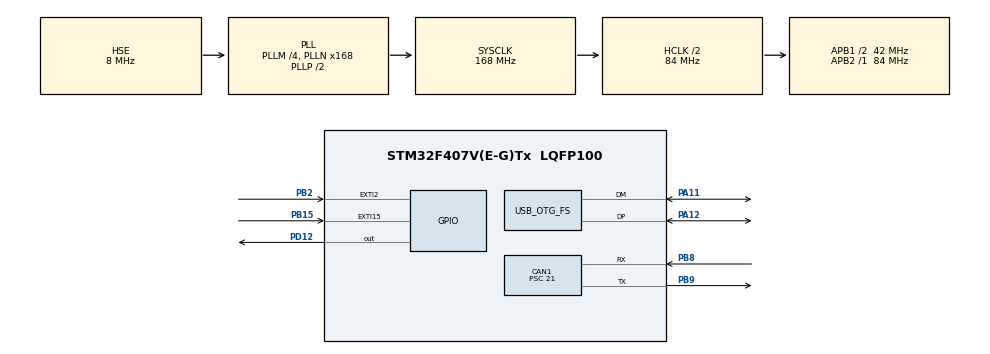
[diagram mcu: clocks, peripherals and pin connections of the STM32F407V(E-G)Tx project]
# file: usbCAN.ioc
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CAN1.BS1=CAN_BS1_13TQ
CAN1.BS2=CAN_BS2_2TQ
CAN1.CalculateBaudRate=125000
CAN1.CalculateTimeBit=8000.00
CAN1.CalculateTimeQuantum=500.0
CAN1.Mode=CAN_MODE_LOOPBACK
CAN1.Prescaler=21
Mcu.Family=STM32F4
Mcu.Name=STM32F407V(E-G)Tx
Mcu.Package=LQFP100
NVIC.CAN1_RX0_IRQn=true\:0\:0\:false\:false\:true\:true\:true
NVIC.CAN1_TX_IRQn=true\:0\:0\:false\:false\:true\:true\:true
NVIC.EXTI15_10_IRQn=true\:0\:0\:false\:false\:true\:true\:true
NVIC.EXTI2_IRQn=true\:0\:0\:false\:false\:true\:true\:true
NVIC.OTG_FS_IRQn=true\:0\:0\:false\:false\:true\:false\:true
NVIC.PriorityGroup=NVIC_PRIORITYGROUP_4
PA11.Mode=Device_Only
PA11.Signal=USB_OTG_FS_DM
PA12.Mode=Device_Only
PA12.Signal=USB_OTG_FS_DP
PA13.Mode=Serial_Wire
PA13.Signal=SYS_JTMS-SWDIO
PA14.Mode=Serial_Wire
PA14.Signal=SYS_JTCK-SWCLK
PB15.GPIO_ModeDefaultEXTI=GPIO_MODE_IT_FALLING
PB15.Signal=GPXTI15
PB2.GPIO_ModeDefaultEXTI=GPIO_MODE_IT_FALLING
PB2.Signal=GPXTI2
PB8.Mode=CAN_Activate
PB8.Signal=CAN1_RX
PB9.Mode=CAN_Activate
PB9.Signal=CAN1_TX
PD12.Signal=GPIO_Output
PH0-OSC_IN.Mode=HSE-External-Oscillator
PH0-OSC_IN.Signal=RCC_OSC_IN
PH1-OSC_OUT.Mode=HSE-External-Oscillator
PH1-OSC_OUT.Signal=RCC_OSC_OUT
ProjectManager.HeapSize=0x200
ProjectManager.StackSize=0x400
ProjectManager.TargetToolchain=MDK-ARM V5.27
RCC.48MHZClocksFreq_Value=48000000
RCC.AHBCLKDivider=RCC_SYSCLK_DIV2
RCC.AHBFreq_Value=84000000
RCC.APB1CLKDivider=RCC_HCLK_DIV2
RCC.APB1Freq_Value=42000000
RCC.APB1TimFreq_Value=84000000
RCC.APB2Freq_Value=84000000
RCC.APB2TimFreq_Value=84000000
RCC.CortexFreq_Value=84000000
RCC.HCLKFreq_Value=84000000
RCC.HSE_VALUE=8000000
RCC.HSI_VALUE=16000000
RCC.LSE_VALUE=32768
RCC.PLLM=4
RCC.PLLN=168
RCC.PLLQ=7
RCC.SYSCLKFreq_VALUE=168000000
RCC.SYSCLKSource=RCC_SYSCLKSOURCE_PLLCLK
RCC.VCOOutputFreq_Value=336000000
USB_DEVICE.CLASS_NAME_FS=CDC
USB_DEVICE.VirtualMode-CDC_FS=Cdc
USB_DEVICE.VirtualModeFS=Cdc_FS
USB_OTG_FS.VirtualMode=Device_Only
VP_USB_DEVICE_VS_USB_DEVICE_CDC_FS.Mode=CDC_FS
board=custom

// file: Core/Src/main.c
/* USER CODE BEGIN Header */
/**
  ******************************************************************************
  * @file           : main.c
  * @brief          : Main program body
  ******************************************************************************
  * @attention
  *
  * <h2><center>&copy; Copyright (c) 2021 STMicroelectronics.
  * All rights reserved.</center></h2>
  *
  * This software component is licensed by ST under Ultimate Liberty license
  * SLA0044, the "License"; You may not use this file except in compliance with
  * the License. You may obtain a copy of the License at:
  *                             www.st.com/SLA0044
  *
  ******************************************************************************
  */
/* USER CODE END Header */
#include "main.h"
#include "usb_device.h"

/* USER CODE BEGIN Includes */
#include "usbd_cdc_if.h"
/* USER CODE END Includes */

CAN_HandleTypeDef hcan1;

void SystemClock_Config(void);
static void MX_GPIO_Init(void);
static void MX_CAN1_Init(void);

/* USER CODE BEGIN 0 */
int usbRxDataSize = 0;

int sw1Pressed = 0;

CAN_FilterTypeDef filterConf;
CAN_RxHeaderTypeDef RxHeader;
uint8_t RxData[8];
int canRxDataSize = 0;

CAN_TxHeaderTypeDef TxHeader;
uint8_t TxData[8];
uint32_t TxMailbox;

void HAL_CAN_TxMailbox0CompleteCallback(CAN_HandleTypeDef* hcan) {
}

void HAL_CAN_RxFifo0MsgPendingCallback(CAN_HandleTypeDef* hcan) {
	HAL_CAN_GetRxMessage(&hcan1, CAN_RX_FIFO0, &RxHeader, RxData);
	canRxDataSize = RxHeader.DLC;
}

/* USER CODE END 0 */

int main(void)
{

  /* MCU Configuration--------------------------------------------------------*/

  /* Reset of all peripherals, Initializes the Flash interface and the Systick. */
  HAL_Init();

  /* Configure the system clock */
  SystemClock_Config();

  /* Initialize all configured peripherals */
  MX_GPIO_Init();
  MX_CAN1_Init();
  MX_USB_DEVICE_Init();
  /* USER CODE BEGIN 2 */
	char txt[] = "Hello, Wolrd\n";
	CDC_Transmit_FS(txt, strlen(txt));

	filterConf.FilterBank = 0;
	filterConf.FilterMode =CAN_FILTERMODE_IDLIST;
	filterConf.FilterScale = CAN_FILTERSCALE_16BIT;
	filterConf.FilterFIFOAssignment = CAN_RX_FIFO0;
	filterConf.FilterIdHigh = (0x0100 << 5);
	filterConf.FilterIdLow = (0x0102 << 5);
	uint32_t maskId = 0x7FFFFFFC;
	filterConf.FilterMaskIdHigh = (0x0104 << 5);
	filterConf.FilterMaskIdLow =  (0x0106 << 5);
	filterConf.FilterActivation = CAN_FILTER_ENABLE;
	filterConf.SlaveStartFilterBank = 0;
	if (HAL_CAN_ConfigFilter(&hcan1, &filterConf) != HAL_OK) {
		Error_Handler();
	}
	if (HAL_CAN_Start(&hcan1) != HAL_OK){
		Error_Handler();
	}
	if (HAL_CAN_ActivateNotification(&hcan1, CAN_IT_RX_FIFO0_MSG_PENDING | CAN_IT_TX_MAILBOX_EMPTY ) != HAL_OK) {
		Error_Handler();
	}

  /* USER CODE END 2 */

  /* Infinite loop */
  while (1)
  {

    /* USER CODE BEGIN 3 */
		if (usbRxDataSize > 0) {
			char buf[100];
			extern uint8_t UserRxBufferFS[];
			sprintf(buf, "Got %s\n", UserRxBufferFS);
			CDC_Transmit_FS(buf, strlen(buf));
			usbRxDataSize = 0;
		}

		if (sw1Pressed) {
			static uint8_t count = 0;
			TxHeader.StdId = 0x0100 + count;
			TxHeader.ExtId =0x00000000;
			TxHeader.IDE = CAN_ID_STD;
			TxHeader.RTR = CAN_RTR_DATA;
			TxHeader.DLC = 8;
			TxHeader.TransmitGlobalTime = DISABLE;
			TxData[0] = 0;
			TxData[1] = 1;
			TxData[2] = 2;
			TxData[3] = 3;
			TxData[4] = 4;
			TxData[5] = 5;
			TxData[6] = 6;
			TxData[7] = count++;
			HAL_CAN_AddTxMessage(&hcan1, &TxHeader, TxData, &TxMailbox);
			sw1Pressed = 0;
		}

		if (canRxDataSize > 0) {
			char buf[100];
			switch (canRxDataSize) {
				case 8:
					sprintf(buf,"%d: %x %x %x %x %x %x %x %x \n",canRxDataSize,RxData[0], RxData[1], RxData[2], RxData[3], RxData[4], RxData[5],RxData[6],RxData[7]);
				break;
				default:
					sprintf(buf, "Got %d bytes\n", canRxDataSize);
			}
			CDC_Transmit_FS(buf,strlen(buf));
			canRxDataSize = 0;
		}

		HAL_Delay(300);

  }
  /* USER CODE END 3 */
}

void SystemClock_Config(void)
{
  RCC_OscInitTypeDef RCC_OscInitStruct = {0};
  RCC_ClkInitTypeDef RCC_ClkInitStruct = {0};

  /** Configure the main internal regulator output voltage
  */
  __HAL_RCC_PWR_CLK_ENABLE();
  __HAL_PWR_VOLTAGESCALING_CONFIG(PWR_REGULATOR_VOLTAGE_SCALE1);
  /** Initializes the RCC Oscillators according to the specified parameters
  * in the RCC_OscInitTypeDef structure.
  */
  RCC_OscInitStruct.OscillatorType = RCC_OSCILLATORTYPE_HSE;
  RCC_OscInitStruct.HSEState = RCC_HSE_ON;
  RCC_OscInitStruct.PLL.PLLState = RCC_PLL_ON;
  RCC_OscInitStruct.PLL.PLLSource = RCC_PLLSOURCE_HSE;
  RCC_OscInitStruct.PLL.PLLM = 4;
  RCC_OscInitStruct.PLL.PLLN = 168;
  RCC_OscInitStruct.PLL.PLLP = RCC_PLLP_DIV2;
  RCC_OscInitStruct.PLL.PLLQ = 7;
  if (HAL_RCC_OscConfig(&RCC_OscInitStruct) != HAL_OK)
  {
    Error_Handler();
  }
  /** Initializes the CPU, AHB and APB buses clocks
  */
  RCC_ClkInitStruct.ClockType = RCC_CLOCKTYPE_HCLK|RCC_CLOCKTYPE_SYSCLK
                              |RCC_CLOCKTYPE_PCLK1|RCC_CLOCKTYPE_PCLK2;
  RCC_ClkInitStruct.SYSCLKSource = RCC_SYSCLKSOURCE_PLLCLK;
  RCC_ClkInitStruct.AHBCLKDivider = RCC_SYSCLK_DIV2;
  RCC_ClkInitStruct.APB1CLKDivider = RCC_HCLK_DIV2;
  RCC_ClkInitStruct.APB2CLKDivider = RCC_HCLK_DIV1;

  if (HAL_RCC_ClockConfig(&RCC_ClkInitStruct, FLASH_LATENCY_2) != HAL_OK)
  {
    Error_Handler();
  }
}

static void MX_CAN1_Init(void)
{

  hcan1.Instance = CAN1;
  hcan1.Init.Prescaler = 21;
  hcan1.Init.Mode = CAN_MODE_LOOPBACK;
  hcan1.Init.SyncJumpWidth = CAN_SJW_1TQ;
  hcan1.Init.TimeSeg1 = CAN_BS1_13TQ;
  hcan1.Init.TimeSeg2 = CAN_BS2_2TQ;
  hcan1.Init.TimeTriggeredMode = DISABLE;
  hcan1.Init.AutoBusOff = DISABLE;
  hcan1.Init.AutoWakeUp = DISABLE;
  hcan1.Init.AutoRetransmission = DISABLE;
  hcan1.Init.ReceiveFifoLocked = DISABLE;
  hcan1.Init.TransmitFifoPriority = DISABLE;
  if (HAL_CAN_Init(&hcan1) != HAL_OK)
  {
    Error_Handler();
  }

}

static void MX_GPIO_Init(void)
{
  GPIO_InitTypeDef GPIO_InitStruct = {0};

  /* GPIO Ports Clock Enable */
  __HAL_RCC_GPIOH_CLK_ENABLE();
  __HAL_RCC_GPIOB_CLK_ENABLE();
  __HAL_RCC_GPIOD_CLK_ENABLE();
  __HAL_RCC_GPIOA_CLK_ENABLE();

  /*Configure GPIO pin Output Level */
  HAL_GPIO_WritePin(GPIOD, GPIO_PIN_12, GPIO_PIN_RESET);

  /*Configure GPIO pins : PB2 PB15 */
  GPIO_InitStruct.Pin = GPIO_PIN_2|GPIO_PIN_15;
  GPIO_InitStruct.Mode = GPIO_MODE_IT_FALLING;
  GPIO_InitStruct.Pull = GPIO_NOPULL;
  HAL_GPIO_Init(GPIOB, &GPIO_InitStruct);

  /*Configure GPIO pin : PD12 */
  GPIO_InitStruct.Pin = GPIO_PIN_12;
  GPIO_InitStruct.Mode = GPIO_MODE_OUTPUT_PP;
  GPIO_InitStruct.Pull = GPIO_NOPULL;
  GPIO_InitStruct.Speed = GPIO_SPEED_FREQ_LOW;
  HAL_GPIO_Init(GPIOD, &GPIO_InitStruct);

  /* EXTI interrupt init*/
  HAL_NVIC_SetPriority(EXTI2_IRQn, 0, 0);
  HAL_NVIC_EnableIRQ(EXTI2_IRQn);

  HAL_NVIC_SetPriority(EXTI15_10_IRQn, 0, 0);
  HAL_NVIC_EnableIRQ(EXTI15_10_IRQn);

}

void Error_Handler(void)
{
  __disable_irq();
  while (1)
  {
  }
}

/************************ (C) COPYRIGHT STMicroelectronics *****END OF FILE****/
